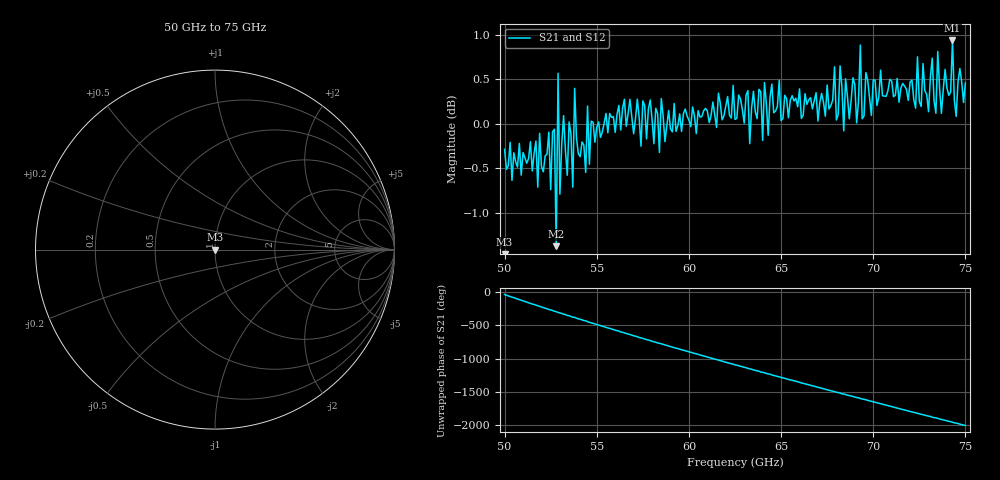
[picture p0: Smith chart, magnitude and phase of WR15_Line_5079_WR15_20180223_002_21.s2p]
# GHZ S RI R 50
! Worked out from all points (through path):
!   251 points, 50 GHz to 75 GHz, reference 50 ohm
!   highest |S21| = 0.94 dB at 74.3 GHz (marker M1); lowest = -1.4 dB at 52.8 GHz (marker M2)
!   lowest |S11| = - dB at 50 GHz (marker M3), VSWR 1.00, Z = 50 + j2.57e-15 ohm
!   |S11| at or under -10 dB: start of sweep to end of sweep
!   |S22| runs from - to - dB; largest |S21 - S12| = 1e-14
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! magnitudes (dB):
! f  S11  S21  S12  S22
! 50 GHz  -  -0.3  -0.3  -
! 52.4 GHz  -  -0.1  -0.1  -
! 52.5 GHz  -  -0.7  -0.7  -
! 52.7 GHz  -  -0.1  -0.1  -
! 52.8 GHz  -  -1.4  -1.4  -
! 52.9 GHz  -  0.6  0.6  -
! 53 GHz  -  -0.8  -0.8  -
! 53.2 GHz  -  0.1  0.1  -
! 53.7 GHz  -  -0.7  -0.7  -
! 53.8 GHz  -  0.4  0.4  -
! 54.2 GHz  -  -0.2  -0.2  -
! 58.4 GHz  -  -0.3  -0.3  -
! 58.5 GHz  -  0.3  0.3  -
! 62.5 GHz  -  0.0  0.0  -
! 66.7 GHz  -  0.2  0.2  -
! 70.9 GHz  -  0.5  0.5  -
! 73.4 GHz  -  0.1  0.1  -
! 73.5 GHz  -  0.8  0.8  -
! 73.7 GHz  -  0.1  0.1  -
! 74.3 GHz  -  0.9  0.9  -
! 74.5 GHz  -  0.1  0.1  -
! 75 GHz  -  0.5  0.5  -
